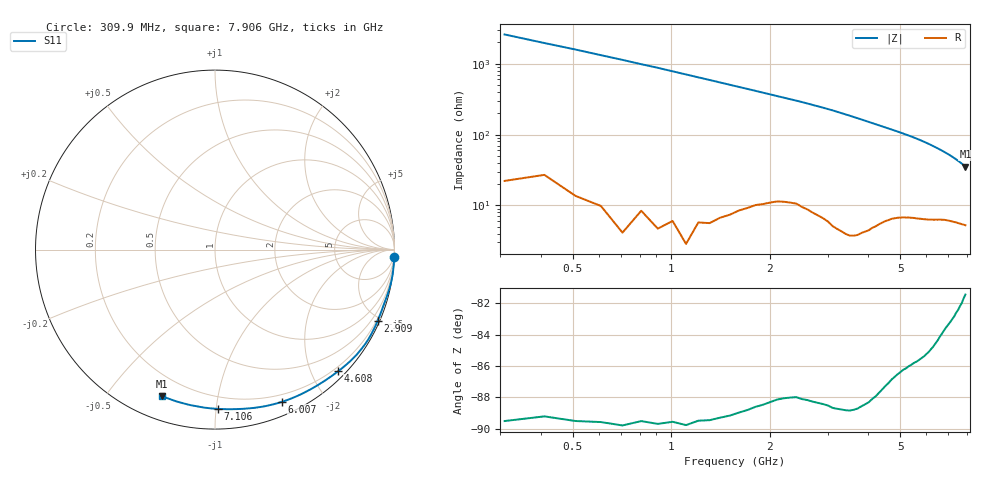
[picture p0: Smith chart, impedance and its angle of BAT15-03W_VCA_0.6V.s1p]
! Infineon Technologies  Discrete & RF Semiconductors
! BAT15-03W-E6327
! VCA = 0.6 V
! One-Port S-Parameters
# Hz  S  MA  R  50
!f  S11
!Hz  Mag  Ang
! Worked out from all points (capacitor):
!   77 points, 309.9 MHz to 7.906 GHz, reference 50 ohm
!   read as one part to ground: C = 198 fF near 309.9 MHz
!   lowest |Z| = 35.2 ohm at 7.906 GHz (marker M1)
!   S11 on the Smith chart (normalised r, x): 309.9 MHz: 0, -52; 2.909 GHz: 0.13, -4.79; 4.608 GHz: 0.12, -2.44; 6.007 GHz: 0.13, -1.53; 7.106 GHz: 0.12, -1.01; 7.906 GHz: 0.10, -0.70
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3.0985e8  0.9997 -2.2
9.0955e8  0.9994 -6.5
1.30935e9  0.9984 -9.7
1.70915e9  0.9953 -12.9
2.2089e9  0.99 -17.1
2.50875e9  0.9889 -19.7
2.90855e9  0.9891 -23.5
3.2084e9  0.99 -26.8
3.50825e9  0.9898 -30.3
3.70815e9  0.9879 -32.8
4.10795e9  0.9798 -37.9
4.30785e9  0.9743 -40.5
4.6077e9  0.9648 -44.6
5.10745e9  0.9498 -51.5
5.4073e9  0.9425 -56.0
5.6072e9  0.9377 -59.2
5.8071e9  0.9325 -62.6
6.007e9  0.9266 -66.2
6.2069e9  0.92 -69.9
6.30685e9  0.9165 -71.9
6.50675e9  0.9087 -75.9
6.70665e9  0.9006 -80.1
7.0065e9  0.8904 -86.7
7.10645e9  0.8877 -89.0
7.30635e9  0.8824 -93.9
7.50625e9  0.8773 -98.9
7.70615e9  0.8727 -104.3
7.90605e9  0.8683 -109.9
